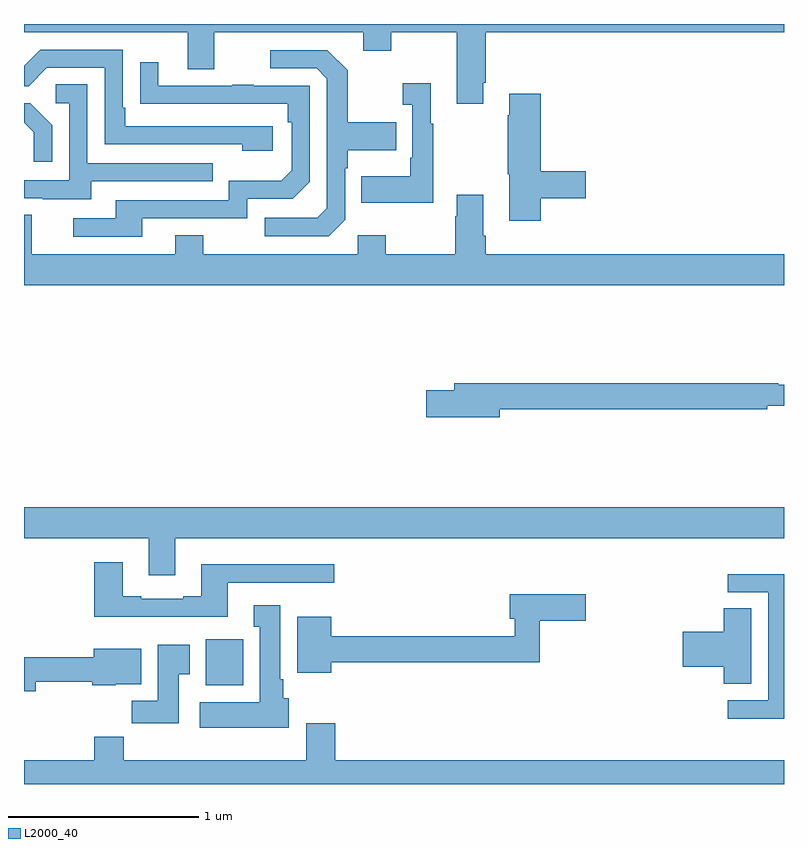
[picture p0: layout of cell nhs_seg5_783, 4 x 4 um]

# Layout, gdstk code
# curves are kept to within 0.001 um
import gdstk
lib = gdstk.Library(unit=1e-6, precision=1e-09)
def R(c, l, rs):  # rectangles x0, y0, x1, y1
    for r in rs: c.add(gdstk.rectangle(r[:2], r[2:], *l))
def P(c, l, *ps):  # polygons
    for p in ps: c.add(gdstk.Polygon(p, *l))
L2000_40 = (2000, 40)

nhs_seg5_783 = lib.new_cell('nhs_seg5_783')
R(nhs_seg5_783, L2000_40, [(161.957,857.318,162.154,857.56)])
P(nhs_seg5_783, L2000_40, [(163.417,860.491),(163.43,860.491),(163.43,860.756),(165,860.756),(165,860.799),(161,860.799),(161,860.756),(161.861,860.756),(161.861,860.562),(162.001,860.562),(162.001,860.756),(162.785,860.756),(162.785,860.657),(162.933,860.657),(162.933,860.756),(163.277,860.756),(163.277,860.379),(163.417,860.379)],
  [(162.31,860.262),(161.533,860.262),(161.533,860.359),(161.52,860.359),(161.52,860.664),(161.085,860.664),(161,860.579),(161,860.472),(161.025,860.472),(161.121,860.568),(161.424,860.568),(161.424,860.166),(162.149,860.166),(162.149,860.132),(162.31,860.132)],
  [(162.69,859.77),(162.69,860.039),(162.703,860.039),(162.703,860.135),(162.959,860.135),(162.959,860.283),(162.703,860.283),(162.703,860.555),(162.597,860.661),(162.297,860.661),(162.297,860.565),(162.54,860.565),(162.594,860.511),(162.594,859.83),(162.543,859.779),(162.267,859.779),(162.267,859.683),(162.603,859.683)],
  [(161.623,859.776),(162.174,859.776),(162.174,859.878),(162.414,859.878),(162.504,859.968),(162.504,860.475),(162.209,860.475),(162.209,860.48),(162.097,860.48),(162.097,860.475),(161.707,860.475),(161.707,860.599),(161.611,860.599),(161.611,860.38),(162.388,860.379),(162.388,860.282),(162.408,860.282),(162.408,860.028),(162.355,859.975),(162.078,859.975),(162.078,859.872),(161.483,859.872),(161.483,859.776),(161.259,859.776),(161.259,859.68),(161.623,859.68)],
  [(163.153,860.275),(163.141,860.275),(163.141,860.488),(162.993,860.488),(162.993,860.375),(163.044,860.375),(163.044,860.095),(163.032,860.095),(163.032,859.999),(162.775,859.999),(162.775,859.859),(163.153,859.859)],
  [(161.353,859.971),(161.993,859.971),(161.993,860.067),(161.334,860.067),(161.334,860.483),(161.166,860.483),(161.166,860.382),(161.238,860.382),(161.238,859.977),(161,859.977),(161,859.881),(161.099,859.881),(161.099,859.877),(161.353,859.877)],
  [(163.721,859.882),(163.957,859.882),(163.957,860.024),(163.721,860.024),(163.721,860.431),(163.553,860.431),(163.553,860.318),(163.546,860.318),(163.546,860.007),(163.553,860.007),(163.553,859.764),(163.721,859.764)],
  [(161.148,860.266),(161.032,860.382),(161,860.382),(161,860.28),(161.051,860.229),(161.051,860.073),(161.148,860.073)],
  [(165,859.588),(163.43,859.588),(163.43,859.684),(163.417,859.684),(163.417,859.9),(163.277,859.9),(163.277,859.787),(163.27,859.787),(163.27,859.588),(162.903,859.588),(162.903,859.687),(162.756,859.687),(162.756,859.588),(161.943,859.588),(161.943,859.687),(161.795,859.687),(161.795,859.588),(161.041,859.588),(161.041,859.796),(161,859.796),(161,859.424),(165,859.424)],
  [(163.504,858.772),(164.912,858.772),(164.912,858.791),(165,858.791),(165,858.901),(164.969,858.901),(164.969,858.908),(163.265,858.908),(163.265,858.872),(163.116,858.872),(163.116,858.73),(163.504,858.73)],
  [(161.797,858.092),(165,858.092),(165,858.256),(161,858.256),(161,858.092),(161.657,858.092),(161.657,857.898),(161.797,857.898)],
  [(162.073,857.859),(162.634,857.859),(162.634,857.956),(161.933,857.956),(161.933,857.788),(161.837,857.788),(161.837,857.775),(161.617,857.775),(161.617,857.788),(161.521,857.788),(161.521,857.965),(161.369,857.965),(161.369,857.678),(162.073,857.678)],
  [(165,857.904),(164.703,857.904),(164.703,857.808),(164.916,857.808),(164.916,857.241),(164.703,857.241),(164.703,857.143),(165,857.143)],
  [(162.616,857.44),(163.715,857.44),(163.715,857.657),(163.957,857.657),(163.957,857.799),(163.556,857.799),(163.556,857.669),(163.583,857.669),(163.583,857.576),(162.616,857.576),(162.616,857.68),(162.437,857.68),(162.437,857.384),(162.616,857.384)],
  [(162.394,857.25),(162.364,857.25),(162.364,857.35),(162.349,857.35),(162.349,857.74),(162.209,857.74),(162.209,857.627),(162.242,857.627),(162.242,857.23),(161.925,857.23),(161.925,857.096),(162.394,857.096)],
  [(164.827,857.723),(164.684,857.723),(164.684,857.6),(164.466,857.6),(164.466,857.417),(164.684,857.417),(164.684,857.326),(164.827,857.326)],
  [(161.815,857.377),(161.872,857.377),(161.872,857.533),(161.705,857.533),(161.705,857.236),(161.566,857.236),(161.566,857.118),(161.815,857.118)],
  [(161.062,857.337),(161.359,857.337),(161.359,857.318),(161.484,857.318),(161.484,857.324),(161.617,857.324),(161.617,857.512),(161.366,857.512),(161.366,857.465),(161,857.465),(161,857.287),(161.062,857.287)],
  [(162.638,857.119),(162.485,857.119),(162.485,856.924),(161.525,856.924),(161.525,857.048),(161.369,857.048),(161.369,856.924),(161,856.924),(161,856.799),(165,856.799),(165,856.924),(162.638,856.924)])

lib.write_gds('nhs_seg5_783.gds')
